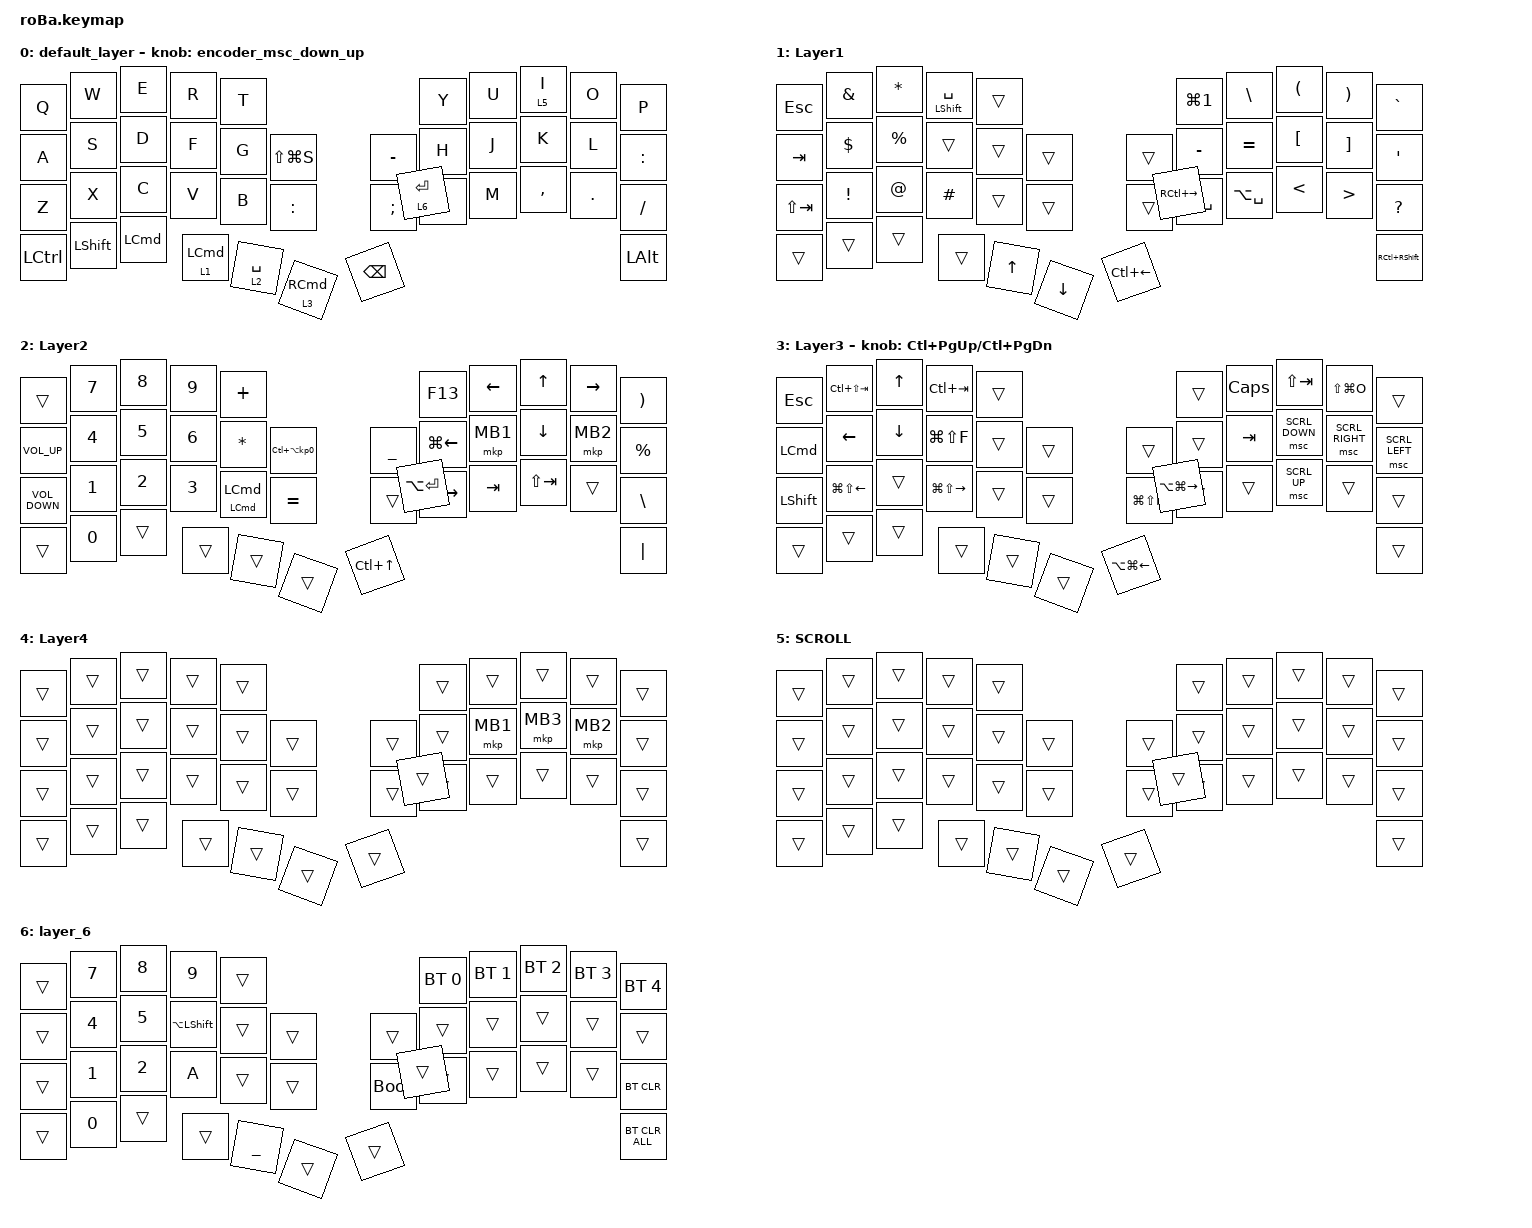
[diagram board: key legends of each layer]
#include <behaviors.dtsi>
#include <dt-bindings/zmk/bt.h>
#include <dt-bindings/zmk/keys.h>
#include <dt-bindings/zmk/pointing.h>

#define ZMK_POINTING_DEFAULT_SCRL_VAL 40

&mt {
    flavor = "balanced";
    quick-tap-ms = <0>;
};

&trackball {
    automouse-layer = <4>;
    scroll-layers = <3>;

    // arrows {
    //     layers = <3>;
    //     bindings =
    //         <&kp RIGHT_ARROW>,
    //         <&kp LEFT_ARROW>,
    //         <&kp UP_ARROW>,
    //         <&kp DOWN_ARROW>;
    //     tick = <10>;
    //     wait-ms = <5>;
    //     tap-ms = <5>;
    // };
};

/ {
    combos {
        compatible = "zmk,combos";

        tab {
            bindings = <&kp TAB>;
            key-positions = <11 12>;
        };

        shift_tab {
            bindings = <&kp LS(TAB)>;
            key-positions = <12 13>;
        };

        muhennkann {
            bindings = <&to_layer_0 INT_MUHENKAN>;
            key-positions = <11 10>;
        };

        double_quotation {
            bindings = <&kp DOUBLE_QUOTES>;
            key-positions = <20 21>;
        };

        eq {
            bindings = <&kp EQUAL>;
            key-positions = <24 25>;
        };
    };

    macros {
        to_layer_0: to_layer_0 {
            compatible = "zmk,behavior-macro-one-param";
            #binding-cells = <1>;
            bindings = <&to 0 &macro_param_1to1 &kp MACRO_PLACEHOLDER>;
            label = "TO_LAYER_0";
        };
    };

    behaviors {
        lt_to_layer_0: lt_to_layer_0 {
            compatible = "zmk,behavior-hold-tap";
            label = "LAYER_TAP_TO_0";
            bindings = <&mo>, <&to_layer_0>;

            #binding-cells = <2>;
            tapping-term-ms = <200>;
        };

        encoder_msc_down_up: encoder_msc_down_up {
            compatible = "zmk,behavior-sensor-rotate";
            label = "ENCODER_MSC_DOWN_UP";
            #sensor-binding-cells = <0>;
            bindings = <&msc SCRL_DOWN>, <&msc SCRL_UP>;

            tap-ms = <20>;
        };
    };

    keymap {
        compatible = "zmk,keymap";

        default_layer {
            bindings = <
&kp Q      &kp W           &kp E             &kp R                          &kp T                                                           &kp Y        &kp U  &lt 5 I    &kp O    &kp P
&kp A      &kp S           &kp D             &kp F                          &kp G        &kp LS(LG(S))                       &kp MINUS      &kp H        &kp J  &kp K      &kp L    &kp COLON
&kp Z      &kp X           &kp C             &kp V                          &kp B        &kp COLON                           &kp SEMICOLON  &kp N        &kp M  &kp COMMA  &kp DOT  &kp SLASH
&kp LCTRL  &kp LEFT_SHIFT  &kp LEFT_COMMAND  &lt_to_layer_0 1 LEFT_COMMAND  &lt 2 SPACE  &lt_to_layer_0 3 RIGHT_COMMAND      &kp BACKSPACE  &lt 6 ENTER                             &kp LEFT_ALT
            >;

            sensor-bindings = <&encoder_msc_down_up>;
        };

        Layer1 {
            bindings = <
&kp ESC      &kp AMPERSAND    &kp ASTERISK  &mt LEFT_SHIFT SPACE  &trans                                          &kp LG(NUMBER_1)  &kp BACKSLASH  &kp LEFT_PARENTHESIS  &kp RIGHT_PARENTHESIS  &kp GRAVE
&kp TAB      &kp DOLLAR       &kp PERCENT   &trans                &trans        &trans        &trans              &kp MINUS         &kp EQUAL      &kp LEFT_BRACKET      &kp RIGHT_BRACKET      &kp SQT
&kp LS(TAB)  &kp EXCLAMATION  &kp AT_SIGN   &kp HASH              &trans        &trans        &trans              &kp LG(SPACE)     &kp LA(SPACE)  &kp LESS_THAN         &kp GREATER_THAN       &kp QUESTION
&trans       &trans           &trans        &trans                &kp UP_ARROW  &kp DOWN      &kp LC(LEFT_ARROW)  &kp RC(RIGHT)                                                                 &kp RC(RIGHT_SHIFT)
            >;
        };

        Layer2 {
            bindings = <
&trans             &kp N7        &kp N8        &kp N9        &kp PLUS                                                                      &kp F13        &kp LEFT_ARROW  &kp UP_ARROW  &kp RIGHT  &kp RIGHT_PARENTHESIS
&kp C_VOLUME_UP    &kp NUMBER_4  &kp N5        &kp NUMBER_6  &kp ASTERISK                   &kp LC(LA(KP_NUMBER_0))      &kp UNDERSCORE    &kp LG(LEFT)   &mkp MB1        &kp DOWN      &mkp MB2   &kp PERCENT
&kp C_VOLUME_DOWN  &kp NUMBER_1  &kp NUMBER_2  &kp NUMBER_3  &mt LEFT_COMMAND LEFT_COMMAND  &kp EQUAL                    &trans            &kp LG(RIGHT)  &kp TAB         &kp LS(TAB)   &trans     &kp BACKSLASH
&trans             &kp N0        &trans        &trans        &trans                         &trans                       &kp LC(UP_ARROW)  &kp LA(ENTER)                                           &kp PIPE
            >;
        };

        Layer3 {
            bindings = <
&kp ESCAPE        &kp LC(LS(TAB))         &kp UP_ARROW    &kp LC(TAB)              &trans                                      &trans             &kp CAPS  &kp LS(TAB)     &kp LS(LG(O))    &trans
&kp LEFT_COMMAND  &kp LEFT_ARROW          &kp DOWN_ARROW  &kp LG(LS(F))            &trans  &trans      &trans                  &trans             &kp TAB   &msc SCRL_DOWN  &msc SCRL_RIGHT  &msc SCRL_LEFT
&kp LEFT_SHIFT    &kp LG(LS(LEFT_ARROW))  &trans          &kp LG(LS(RIGHT_ARROW))  &trans  &trans      &kp LG(LS(N))           &trans             &trans    &msc SCRL_UP    &trans           &trans
&trans            &trans                  &trans          &trans                   &trans  &trans      &kp LA(LG(LEFT_ARROW))  &kp LA(LG(RIGHT))                                             &trans
            >;

            sensor-bindings = <&inc_dec_kp LC(PAGE_UP) LC(PAGE_DOWN)>;
        };

        Layer4 {
            bindings = <
&trans  &trans  &trans  &trans  &trans                      &trans  &trans    &trans    &trans    &trans
&trans  &trans  &trans  &trans  &trans  &trans      &trans  &trans  &mkp MB1  &mkp MB3  &mkp MB2  &trans
&trans  &trans  &trans  &trans  &trans  &trans      &trans  &trans  &trans    &trans    &trans    &trans
&trans  &trans  &trans  &trans  &trans  &trans      &trans  &trans                                &trans
            >;
        };

        SCROLL {
            bindings = <
&trans  &trans  &trans  &trans  &trans                      &trans  &trans  &trans  &trans  &trans
&trans  &trans  &trans  &trans  &trans  &trans      &trans  &trans  &trans  &trans  &trans  &trans
&trans  &trans  &trans  &trans  &trans  &trans      &trans  &trans  &trans  &trans  &trans  &trans
&trans  &trans  &trans  &trans  &trans  &trans      &trans  &trans                          &trans
            >;
        };

        layer_6 {
            bindings = <
&trans  &kp N7        &kp N8        &kp N9              &trans                              &bt BT_SEL 0  &bt BT_SEL 1  &bt BT_SEL 2  &bt BT_SEL 3  &bt BT_SEL 4
&trans  &kp NUMBER_4  &kp N5        &kp LA(LEFT_SHIFT)  &trans     &trans      &trans       &trans        &trans        &trans        &trans        &trans
&trans  &kp NUMBER_1  &kp NUMBER_2  &kp A               &trans     &trans      &bootloader  &trans        &trans        &trans        &trans        &bt BT_CLR
&trans  &kp N0        &trans        &trans              &kp UNDER  &trans      &trans       &trans                                                  &bt BT_CLR_ALL
            >;
        };
    };
};
